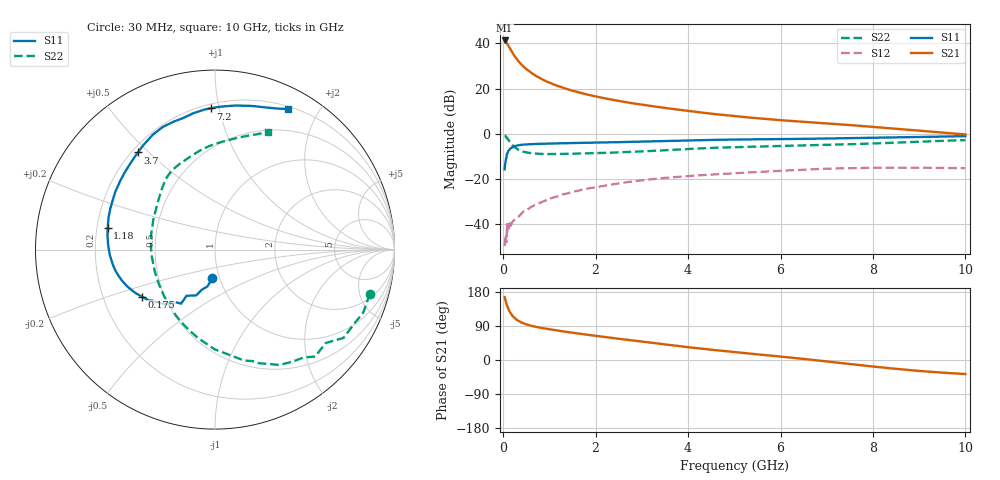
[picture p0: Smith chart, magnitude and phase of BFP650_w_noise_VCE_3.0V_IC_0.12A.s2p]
! Infineon Technologies  Discrete & RF Semiconductors
! BFP650
! VCE =  3.0 V,  IC = 0.12 A
! Common Emitter S-Parameters:  Jan 2016
# GHz  S  MA  R  50
!  f  S11  S21  S12  S22
! GHz  MAG  ANG  MAG  ANG  MAG  ANG  MAG  ANG
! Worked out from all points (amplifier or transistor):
!   229 points, 30 MHz to 10 GHz, reference 50 ohm
!   highest |S21| = 41.3 dB at 30 MHz (marker M1)
!   |S21| within 3 dB of that: start of sweep to 127.9 MHz
!   unconditionally stable (mu >= 1): 1.146 GHz to end of sweep
!   at 280 MHz: K = 0.69, MSG = 35.5 dB, |S12| = -37.5 dB
!   at 1.78 GHz: K = 1.03, MAG = 20.1 dB, |S12| = -24.6 dB
!   at 10 GHz: K = 1.03, MAG = 6.5 dB, |S12| = -15.3 dB
!   lowest NFmin = 1.60 dB at 450 MHz
!   S11 on the Smith chart (normalised r, x): 30 MHz: 0.92, -0.30; 175 MHz: 0.38, -0.26; 1.18 GHz: 0.24, +0.09; 3.7 GHz: 0.22, +0.46; 7.2 GHz: 0.23, +0.94; 10 GHz: 0.23, +1.62
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0.03  0.1611 -95.7  116.7 166.0  0.0032 101.6  0.8973 -16.0
0.05  0.2349 -108.1  111.3 156.4  0.0058 100.0  0.8784 -28.1
0.06  0.2757 -112.3  109.3 152.5  0.0055 93.4  0.8689 -34.5
0.08  0.3559 -122.1  101.4 144.4  0.0099 78.8  0.8164 -46.9
0.1  0.3865 -129.3  93.51 137.8  0.0066 75.3  0.7593 -55.3
0.13  0.4392 -138.4  81.87 129.5  0.0086 67.9  0.6805 -68.6
0.175  0.483 -147.0  68.25 121.1  0.0098 61.1  0.5924 -82.2
0.2  0.5043 -151.2  61.63 116.2  0.0112 59.0  0.5554 -90.3
0.26  0.5332 -158.0  49.95 109.1  0.0126 62.2  0.4891 -103.6
0.3  0.5467 -161.6  43.91 105.3  0.0139 62.3  0.4581 -111.4
0.4  0.5672 -168.2  33.56 98.6  0.0172 63.1  0.4096 -126.3
0.5  0.5776 -173.0  27.02 93.9  0.0198 64.2  0.3843 -137.5
0.7  0.5914 -179.9  19.29 87.6  0.0265 64.9  0.3614 -153.5
1.18  0.6096 168.8  11.42 77.6  0.041 62.8  0.354 -176.0
1.7  0.6258 159.1  7.9 68.6  0.0569 58.4  0.3633 169.3
3.4  0.6776 132.7  3.841 42.7  0.1021 39.4  0.4233 137.5
3.7  0.6906 128.4  3.495 38.3  0.1087 35.8  0.4395 133.4
5.1  0.7433 112.1  2.395 19.8  0.1342 21.3  0.5053 117.1
6.8  0.7762 96.2  1.747 -1.0  0.164 4.0  0.5582 98.6
7.2  0.7871 91.8  1.635 -6.5  0.169 -0.6  0.5718 94.8
8.4  0.8225 76.9  1.309 -22.2  0.1758 -14.0  0.6262 80.6
10  0.8821 62.7  0.961 -37.0  0.1718 -26.8  0.7197 65.9
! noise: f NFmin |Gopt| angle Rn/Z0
0.45  1.6  0.6  -171  0.06
0.9  1.62  0.61  -164  0.07
1.9  1.77  0.62  -149  0.11
2.4  1.88  0.61  -140  0.16
3.5  2.06  0.62  -118  0.29
